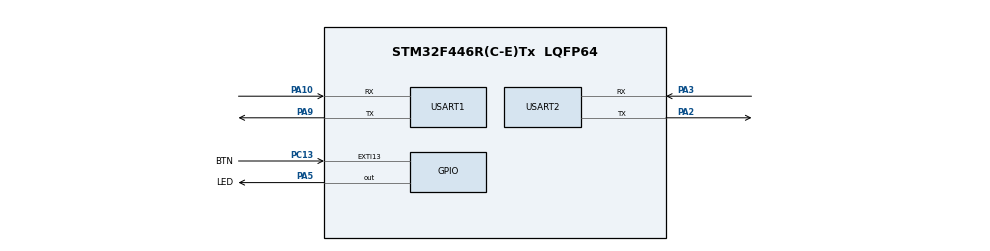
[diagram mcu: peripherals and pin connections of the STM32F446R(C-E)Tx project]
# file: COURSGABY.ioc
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FREERTOS.Tasks01=defaultTask,24,128,StartDefaultTask,Default,NULL,Dynamic,NULL,NULL
Mcu.Family=STM32F4
Mcu.Name=STM32F446R(C-E)Tx
Mcu.Package=LQFP64
NVIC.PriorityGroup=NVIC_PRIORITYGROUP_4
NVIC.TIM6_DAC_IRQn=true\:15\:0\:false\:false\:true\:false\:false\:true\:true
NVIC.TimeBase=TIM6_DAC_IRQn
NVIC.TimeBaseIP=TIM6
PA10.Mode=Asynchronous
PA10.Signal=USART1_RX
PA2.Mode=Asynchronous
PA2.Signal=USART2_TX
PA3.Mode=Asynchronous
PA3.Signal=USART2_RX
PA5.GPIO_Label=LED
PA5.Signal=GPIO_Output
PA9.Mode=Asynchronous
PA9.Signal=USART1_TX
PC13.GPIO_Label=BTN
PC13.Signal=GPXTI13
ProjectManager.HeapSize=0x200
ProjectManager.StackSize=0x400
ProjectManager.TargetToolchain=CMake
RCC.CortexFreq_Value=16000000
RCC.USBFreq_Value=96000000
RCC.VCOOutputFreq_Value=192000000
USART1.VirtualMode=VM_ASYNC
USART2.VirtualMode=VM_ASYNC
VP_FREERTOS_VS_CMSIS_V2.Mode=CMSIS_V2
VP_SYS_VS_tim6.Mode=TIM6
board=custom

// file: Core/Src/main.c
/* USER CODE BEGIN Header */
/**
  ******************************************************************************
  * @file           : main.c
  * @brief          : Main program body
  ******************************************************************************
  * @attention
  *
  * Copyright (c) 2026 STMicroelectronics.
  * All rights reserved.
  *
  * This software is licensed under terms that can be found in the LICENSE file
  * in the root directory of this software component.
  * If no LICENSE file comes with this software, it is provided AS-IS.
  *
  ******************************************************************************
  */
/* USER CODE END Header */
#include "main.h"
#include "cmsis_os.h"

/* USER CODE BEGIN Includes */
#include "protocol_icd.h"
#include <string.h>
#include <stdio.h>

/* USER CODE END Includes */

UART_HandleTypeDef huart1;
UART_HandleTypeDef huart2;

/* Definitions for defaultTask */
osThreadId_t defaultTaskHandle;
const osThreadAttr_t defaultTask_attributes = {
  .name = "defaultTask",
  .stack_size = 128 * 4,
  .priority = (osPriority_t) osPriorityNormal,
};
/* USER CODE BEGIN PV */
ProtocolMessage_t trameAenvoyer;
ProtocolMessage_t trameRecu;

typedef enum {
    ROLE_NONCONFIG = 0,
    ROLE_MAITRE,
    ROLE_ESCLAVE
} Roles;

Roles roleActuel = ROLE_NONCONFIG;
uint32_t cleSession = 0;
/* USER CODE END PV */

void SystemClock_Config(void);
static void MX_GPIO_Init(void);
static void MX_USART2_UART_Init(void);
static void MX_USART1_UART_Init(void);
void StartDefaultTask(void *argument);

/* USER CODE BEGIN 0 */

//calculer le crc pour verifier l'integrite de la trame
uint16_t calculerCRC(const uint8_t *data, size_t length) {
    uint16_t crc = 0xFFFF;
    for (size_t i = 0; i < length; i++) {
        crc ^= data[i];
        for (uint8_t j = 0; j < 8; j++) {
            if (crc & 0x0001) {
                crc = (crc >> 1) ^ 0xA001;
            } else {
                crc >>= 1;
            }
        }
    }
    return crc;
}

//fonction qui va masquer & demasquer le message
void appliquerMasque(uint8_t *data, size_t length, uint32_t key) {
    uint8_t cleDecoupe[4];
    memcpy(cleDecoupe, &key, 4);
    for (size_t i = 0; i < length; i++) {
        data[i] ^= cleDecoupe[i % 4];
    }
}
/* USER CODE END 0 */

int main(void)
{

  /* MCU Configuration--------------------------------------------------------*/

  /* Reset of all peripherals, Initializes the Flash interface and the Systick. */
  HAL_Init();

  /* Configure the system clock */
  SystemClock_Config();

  /* Initialize all configured peripherals */
  MX_GPIO_Init();
  MX_USART2_UART_Init();
  MX_USART1_UART_Init();
  /* USER CODE BEGIN 2 */

    //CODE QUI SERT PLUS A RIEN : ça me servait à faire des tests au début pour voir comment fonctionnait l'envoie de trames

    //trame de test
    trameAenvoyer.header.start_byte = ICD_START_BYTE;
    trameAenvoyer.header.command_type = CMD_INIT;
    trameAenvoyer.header.length = 4;
    trameAenvoyer.header.reserve = 0;
    trameAenvoyer.header.id_src = 0x12345678;

    //message de test
    trameAenvoyer.payload[0] = 'T';
    trameAenvoyer.payload[1] = 'E';
    trameAenvoyer.payload[2] = 'S';
    trameAenvoyer.payload[3] = 'T';

    //pour le test on met pas de crc
    trameAenvoyer.crc = 0x0000;
  /* USER CODE END 2 */

  /* Init scheduler */
  osKernelInitialize();

  /* Create the thread(s) */
  /* creation of defaultTask */
  defaultTaskHandle = osThreadNew(StartDefaultTask, NULL, &defaultTask_attributes);

  /* Start scheduler */
  osKernelStart();

  /* We should never get here as control is now taken by the scheduler */

  /* Infinite loop */
  while (1)
  {

  }
}

void SystemClock_Config(void)
{
  RCC_OscInitTypeDef RCC_OscInitStruct = {0};
  RCC_ClkInitTypeDef RCC_ClkInitStruct = {0};

  /** Configure the main internal regulator output voltage
  */
  __HAL_RCC_PWR_CLK_ENABLE();
  __HAL_PWR_VOLTAGESCALING_CONFIG(PWR_REGULATOR_VOLTAGE_SCALE3);

  /** Initializes the RCC Oscillators according to the specified parameters
  * in the RCC_OscInitTypeDef structure.
  */
  RCC_OscInitStruct.OscillatorType = RCC_OSCILLATORTYPE_HSI;
  RCC_OscInitStruct.HSIState = RCC_HSI_ON;
  RCC_OscInitStruct.HSICalibrationValue = RCC_HSICALIBRATION_DEFAULT;
  RCC_OscInitStruct.PLL.PLLState = RCC_PLL_NONE;
  if (HAL_RCC_OscConfig(&RCC_OscInitStruct) != HAL_OK)
  {
    Error_Handler();
  }

  /** Initializes the CPU, AHB and APB buses clocks
  */
  RCC_ClkInitStruct.ClockType = RCC_CLOCKTYPE_HCLK|RCC_CLOCKTYPE_SYSCLK
                              |RCC_CLOCKTYPE_PCLK1|RCC_CLOCKTYPE_PCLK2;
  RCC_ClkInitStruct.SYSCLKSource = RCC_SYSCLKSOURCE_HSI;
  RCC_ClkInitStruct.AHBCLKDivider = RCC_SYSCLK_DIV1;
  RCC_ClkInitStruct.APB1CLKDivider = RCC_HCLK_DIV1;
  RCC_ClkInitStruct.APB2CLKDivider = RCC_HCLK_DIV1;

  if (HAL_RCC_ClockConfig(&RCC_ClkInitStruct, FLASH_LATENCY_0) != HAL_OK)
  {
    Error_Handler();
  }
}

static void MX_USART1_UART_Init(void)
{

  huart1.Instance = USART1;
  huart1.Init.BaudRate = 115200;
  huart1.Init.WordLength = UART_WORDLENGTH_8B;
  huart1.Init.StopBits = UART_STOPBITS_1;
  huart1.Init.Parity = UART_PARITY_NONE;
  huart1.Init.Mode = UART_MODE_TX_RX;
  huart1.Init.HwFlowCtl = UART_HWCONTROL_NONE;
  huart1.Init.OverSampling = UART_OVERSAMPLING_16;
  if (HAL_UART_Init(&huart1) != HAL_OK)
  {
    Error_Handler();
  }

}

static void MX_USART2_UART_Init(void)
{

  huart2.Instance = USART2;
  huart2.Init.BaudRate = 115200;
  huart2.Init.WordLength = UART_WORDLENGTH_8B;
  huart2.Init.StopBits = UART_STOPBITS_1;
  huart2.Init.Parity = UART_PARITY_NONE;
  huart2.Init.Mode = UART_MODE_TX_RX;
  huart2.Init.HwFlowCtl = UART_HWCONTROL_NONE;
  huart2.Init.OverSampling = UART_OVERSAMPLING_16;
  if (HAL_UART_Init(&huart2) != HAL_OK)
  {
    Error_Handler();
  }

}

static void MX_GPIO_Init(void)
{
  GPIO_InitTypeDef GPIO_InitStruct = {0};

  /* GPIO Ports Clock Enable */
  __HAL_RCC_GPIOC_CLK_ENABLE();
  __HAL_RCC_GPIOA_CLK_ENABLE();

  /*Configure GPIO pin Output Level */
  HAL_GPIO_WritePin(LED_GPIO_Port, LED_Pin, GPIO_PIN_RESET);

  /*Configure GPIO pin : BTN_Pin */
  GPIO_InitStruct.Pin = BTN_Pin;
  GPIO_InitStruct.Mode = GPIO_MODE_IT_RISING;
  GPIO_InitStruct.Pull = GPIO_NOPULL;
  HAL_GPIO_Init(BTN_GPIO_Port, &GPIO_InitStruct);

  /*Configure GPIO pin : LED_Pin */
  GPIO_InitStruct.Pin = LED_Pin;
  GPIO_InitStruct.Mode = GPIO_MODE_OUTPUT_PP;
  GPIO_InitStruct.Pull = GPIO_NOPULL;
  GPIO_InitStruct.Speed = GPIO_SPEED_FREQ_LOW;
  HAL_GPIO_Init(LED_GPIO_Port, &GPIO_InitStruct);

}

void StartDefaultTask(void *argument)
{
  /* USER CODE BEGIN 5 */
  size_t tailleDonee = sizeof(MessageHeader_t) + MAX_PAYLOAD_SIZE;
  uint32_t tmpDernierClignottement = 0;
  static uint8_t message[MAX_PAYLOAD_SIZE];
  static GPIO_PinState ancienEtatBouton = GPIO_PIN_SET;
  static uint8_t enErreur = 0;
  static uint32_t erreurDebut = 0;
  static uint8_t indexCaractereMsg = 0;
  static uint32_t tmpDernierClic = 0;
  static uint8_t nbClics = 0;

  /* Infinite loop */
  for(;;)
  {
    //raz des flags si l'uart a planté à cause d'une trame parasite
    if(huart1.ErrorCode != HAL_UART_ERROR_NONE)
    {
      __HAL_UART_CLEAR_OREFLAG(&huart1);
      __HAL_UART_CLEAR_NEFLAG(&huart1);
      __HAL_UART_CLEAR_FEFLAG(&huart1);
      huart1.ErrorCode = HAL_UART_ERROR_NONE;
    }

    //==============================GESTION BOUTON BLEU===========================
    GPIO_PinState etatActuelBouton = HAL_GPIO_ReadPin(GPIOC, GPIO_PIN_13);
    if(nbClics > 0 && (osKernelGetTickCount() - tmpDernierClic) > 2000)
    {
      nbClics = 0;
    }
    if(etatActuelBouton == GPIO_PIN_RESET && ancienEtatBouton == GPIO_PIN_SET)
    {
      if((osKernelGetTickCount()-tmpDernierClic)> 50)
      {
        nbClics++;
        tmpDernierClic = osKernelGetTickCount();

        if(nbClics>=3)  //condition valide pour reset
        {
          nbClics = 0; //raz

          //envoi trame CMD_RESET
          trameAenvoyer.header.start_byte = ICD_START_BYTE;
          trameAenvoyer.header.command_type = CMD_RESET;
          trameAenvoyer.header.length = 0;
          trameAenvoyer.header.reserve = 0;
          trameAenvoyer.header.id_src = 0x00000001;
          memset(trameAenvoyer.payload, 0, MAX_PAYLOAD_SIZE);
          trameAenvoyer.crc = calculerCRC((uint8_t*)&trameAenvoyer, tailleDonee);

          HAL_UART_Transmit(&huart1, (uint8_t*)&trameAenvoyer, sizeof(ProtocolMessage_t), 100);

          //reset variables
          roleActuel = ROLE_NONCONFIG;
          cleSession = 0;
          indexCaractereMsg = 0;
          enErreur = 0;
          char logReset[] = "\r\n ================================== RESET ================================== \r\n";
          HAL_UART_Transmit(&huart2, (uint8_t*)logReset, strlen(logReset), 100);
        }
      }
    }
    ancienEtatBouton=etatActuelBouton;

    //==============================LECTURE CLAVIER============================

    if(roleActuel==ROLE_NONCONFIG || roleActuel==ROLE_MAITRE) //les cartes esclave ignorent le clavier
    {
      uint8_t c = 0;
      if(HAL_UART_Receive(&huart2,&c,1,1) == HAL_OK)
      {
        HAL_UART_Transmit(&huart2, &c, 1, 10);
        if (c == '\r' || c == '\n') //bouton entrée
        {
          if(indexCaractereMsg>0)
          {
            char retour[] = "\r\n";
            HAL_UART_Transmit(&huart2, (uint8_t*)retour, 2, 10);

            //si c'est le premier message : on s'initialise en maitre avant d'envoyer le message
            if (roleActuel==ROLE_NONCONFIG)
            {
                roleActuel=ROLE_MAITRE;
                cleSession=0xA5A55A5A;

                //log
                char logMaster[100];
                snprintf(logMaster,sizeof(logMaster),"Rôle : maitre, cle: 0x%08X\r\n",(unsigned int)cleSession);
                HAL_UART_Transmit(&huart2, (uint8_t*)logMaster,strlen(logMaster),100);

                trameAenvoyer.header.start_byte = ICD_START_BYTE;
                trameAenvoyer.header.command_type = CMD_INIT;
                trameAenvoyer.header.length = 4;
                trameAenvoyer.header.reserve = 0;
                trameAenvoyer.header.id_src = 0x00000001;
                memcpy(trameAenvoyer.payload, &cleSession, sizeof(cleSession));
                trameAenvoyer.crc = calculerCRC((uint8_t*)&trameAenvoyer, tailleDonee);

                // CORRECTION : Envoi unique
                HAL_UART_Transmit(&huart1, (uint8_t*)&trameAenvoyer, sizeof(ProtocolMessage_t), 100);

                //pause de 20ms avant d'envoyer le msg à l'esclave
                osDelay(20);
            }

            //envoie msg
            trameAenvoyer.header.start_byte = ICD_START_BYTE;
            trameAenvoyer.header.command_type = CMD_MSG;
            trameAenvoyer.header.length = indexCaractereMsg;
            trameAenvoyer.header.reserve = 0;
            trameAenvoyer.header.id_src = 0x00000001;

            memset(trameAenvoyer.payload, 0, MAX_PAYLOAD_SIZE);
            memcpy(trameAenvoyer.payload, message, indexCaractereMsg);

            appliquerMasque(trameAenvoyer.payload, MAX_PAYLOAD_SIZE, cleSession);
            trameAenvoyer.crc = calculerCRC((uint8_t*)&trameAenvoyer, tailleDonee);

            HAL_UART_Transmit(&huart1, (uint8_t*)&trameAenvoyer, sizeof(ProtocolMessage_t), 100);

            char logEnvoie[80];
            snprintf(logEnvoie, sizeof(logEnvoie),"Maitre : message envoyé (%d octets)\r\n> ",indexCaractereMsg);
            HAL_UART_Transmit(&huart2,(uint8_t*)logEnvoie, strlen(logEnvoie), 100);

            indexCaractereMsg = 0; //vider le buffer pour prochain message
          }
        }

        //filtrer touches qui sont pas du texte
        else if (c>=32 && c<=126)
        {
          if(indexCaractereMsg<MAX_PAYLOAD_SIZE)
          {
            message[indexCaractereMsg++] = c;
          }
        }
      }
    }

    //==============================COMMUNICATION ENTRE CARTES============================
    uint8_t octetRechercheSynchro = 0;

    if(HAL_UART_Receive(&huart1, &octetRechercheSynchro, 1, 10) == HAL_OK)
    {
      if(octetRechercheSynchro == ICD_START_BYTE)
      {
        trameRecu.header.start_byte = octetRechercheSynchro;

        if (HAL_UART_Receive(&huart1, ((uint8_t*)&trameRecu) + 1, sizeof(ProtocolMessage_t) - 1, 20) == HAL_OK)
        {

          //verif intégrité
          uint16_t crcObtenu = calculerCRC((uint8_t*)&trameRecu, tailleDonee);

          if (crcObtenu == trameRecu.crc)
          {

            //Config initiale (premier message reçu)
            if(trameRecu.header.command_type == CMD_INIT && roleActuel == ROLE_NONCONFIG)
            {
              roleActuel = ROLE_ESCLAVE;
              memcpy(&cleSession, trameRecu.payload, sizeof(cleSession));

              char logEsclave[100];
              snprintf(logEsclave, sizeof(logEsclave), "\r\nRole : esclave, cle: 0x%08X\r\nJ'attend un message...\r\n", (unsigned int)cleSession);
              HAL_UART_Transmit(&huart2, (uint8_t*)logEsclave,strlen(logEsclave),100);

              HAL_UART_Transmit(&huart1, (uint8_t*)&trameRecu, sizeof(ProtocolMessage_t), 100);
            }

            //Reception message chiffré
            else if(trameRecu.header.command_type == CMD_MSG && roleActuel == ROLE_ESCLAVE)
            {
              HAL_UART_Transmit(&huart1, (uint8_t*)&trameRecu, sizeof(ProtocolMessage_t), 100);

              appliquerMasque(trameRecu.payload, MAX_PAYLOAD_SIZE, cleSession);

              char logDechiffre[100];
              snprintf(logDechiffre, sizeof(logDechiffre), "Message dechiffré : %.*s\r\n", trameRecu.header.length, trameRecu.payload);
              HAL_UART_Transmit(&huart2, (uint8_t*)logDechiffre, strlen(logDechiffre), 100);
            }

            //Ordre de reset
            else if(trameRecu.header.command_type == CMD_RESET)
            {
              HAL_UART_Transmit(&huart1, (uint8_t*)&trameRecu, sizeof(ProtocolMessage_t), 100);

              roleActuel=ROLE_NONCONFIG;
              cleSession=0;
              indexCaractereMsg=0;

              char log_r[]="\r\nRESET : chaine reset par une autre carte\r\n";
              HAL_UART_Transmit(&huart2, (uint8_t*)log_r, strlen(log_r), 100);
            }
          }
          else
          {

            //calcul crc echec : erreur d'intégrité
            enErreur=1;
            erreurDebut=osKernelGetTickCount();

            char logErreur[]="\r\nERREUR, trame rejetee\r\n";
            HAL_UART_Transmit(&huart2,(uint8_t*)logErreur,strlen(logErreur),100);
          }
        }
      }
    }

    //================================GESTION LED===============================

    //Erreur : clignottement rapide
    if(enErreur)
    {
      if((osKernelGetTickCount() - tmpDernierClignottement) >= 100)
      {
        HAL_GPIO_TogglePin(GPIOA, GPIO_PIN_5);
        tmpDernierClignottement = osKernelGetTickCount();
      }

      if((osKernelGetTickCount() - erreurDebut) > 3000)
      {
        enErreur = 0;
        if (roleActuel != ROLE_NONCONFIG) HAL_GPIO_WritePin(GPIOA, GPIO_PIN_5, GPIO_PIN_SET);
      }
    }

    //En attente : clignottement
    else if (roleActuel == ROLE_NONCONFIG)
    {
      if((osKernelGetTickCount() - tmpDernierClignottement) >= 1000)
      {
        HAL_GPIO_TogglePin(GPIOA, GPIO_PIN_5);
        tmpDernierClignottement = osKernelGetTickCount();
      }
    }

    //Role configuré : allumée
    else
    {
      HAL_GPIO_WritePin(GPIOA, GPIO_PIN_5, GPIO_PIN_SET);
    }

    osDelay(1);
  }
  /* USER CODE END 5 */
}

void HAL_TIM_PeriodElapsedCallback(TIM_HandleTypeDef *htim)
{
  if (htim->Instance == TIM6)
  {
    HAL_IncTick();
  }
}

void Error_Handler(void)
{
  __disable_irq();
  while (1)
  {
  }
}
